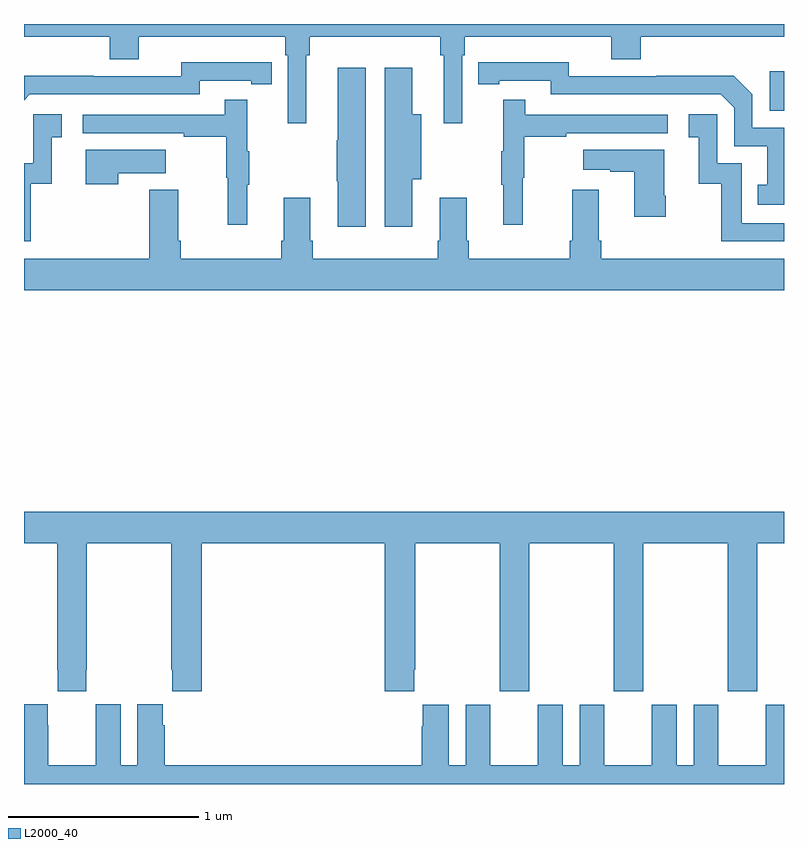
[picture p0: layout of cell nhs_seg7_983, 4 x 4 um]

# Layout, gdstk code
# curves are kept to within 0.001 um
import gdstk
lib = gdstk.Library(unit=1e-6, precision=1e-09)
def R(c, l, rs):  # rectangles x0, y0, x1, y1
    for r in rs: c.add(gdstk.rectangle(r[:2], r[2:], *l))
def P(c, l, *ps):  # polygons
    for p in ps: c.add(gdstk.Polygon(p, *l))
L2000_40 = (2000, 40)

nhs_seg7_983 = lib.new_cell('nhs_seg7_983')
R(nhs_seg7_983, L2000_40, [(186.924,1017.543,187,1017.751)])
P(nhs_seg7_983, L2000_40, [(183,1017.932),(183.452,1017.932),(183.452,1017.815),(183.604,1017.815),(183.604,1017.932),(184.376,1017.932),(184.376,1017.836),(184.389,1017.836),(184.389,1017.477),(184.486,1017.477),(184.486,1017.836),(184.505,1017.836),(184.505,1017.932),(185.191,1017.932),(185.191,1017.836),(185.21,1017.836),(185.21,1017.477),(185.307,1017.477),(185.307,1017.836),(185.321,1017.836),(185.321,1017.932),(186.092,1017.932),(186.092,1017.815),(186.245,1017.815),(186.245,1017.932),(187,1017.932),(187,1018),(183,1018)],
  [(187,1017.453),(186.834,1017.453),(186.834,1017.63),(186.736,1017.728),(186.328,1017.728),(186.328,1017.726),(185.868,1017.726),(185.868,1017.799),(185.392,1017.798),(185.392,1017.682),(185.5,1017.682),(185.5,1017.702),(185.772,1017.702),(185.772,1017.63),(186.666,1017.63),(186.738,1017.558),(186.738,1017.357),(186.911,1017.357),(186.911,1017.153),(186.862,1017.153),(186.862,1017.048),(187,1017.048)],
  [(183.03,1017.63),(183.924,1017.63),(183.924,1017.702),(184.196,1017.702),(184.196,1017.682),(184.304,1017.682),(184.304,1017.798),(183.828,1017.799),(183.828,1017.726),(183.368,1017.726),(183.368,1017.728),(183,1017.728),(183,1017.6)],
  [(184.798,1017.769),(184.652,1017.769),(184.652,1017.389),(184.645,1017.389),(184.645,1017.172),(184.652,1017.172),(184.652,1016.934),(184.798,1016.934)],
  [(185.044,1017.182),(185.092,1017.182),(185.092,1017.526),(185.044,1017.526),(185.044,1017.769),(184.898,1017.769),(184.898,1016.934),(185.044,1016.934)],
  [(185.624,1017.192),(185.632,1017.192),(185.632,1017.406),(185.855,1017.406),(185.855,1017.426),(186.388,1017.426),(186.388,1017.522),(185.639,1017.522),(185.639,1017.601),(185.522,1017.601),(185.522,1017.329),(185.511,1017.329),(185.511,1017.155),(185.522,1017.155),(185.522,1016.943),(185.624,1016.943)],
  [(184.175,1017.155),(184.186,1017.155),(184.186,1017.329),(184.175,1017.329),(184.175,1017.601),(184.057,1017.601),(184.057,1017.522),(183.309,1017.522),(183.309,1017.426),(183.841,1017.426),(183.841,1017.406),(184.065,1017.406),(184.065,1017.192),(184.072,1017.192),(184.072,1016.943),(184.175,1016.943)],
  [(183.035,1017.159),(183.146,1017.159),(183.146,1017.405),(183.199,1017.405),(183.199,1017.526),(183.048,1017.526),(183.048,1017.267),(183,1017.267),(183,1016.856),(183.035,1016.856)],
  [(187,1016.952),(186.777,1016.952),(186.777,1017.267),(186.648,1017.267),(186.648,1017.526),(186.498,1017.526),(186.498,1017.405),(186.551,1017.405),(186.551,1017.159),(186.669,1017.159),(186.669,1016.856),(187,1016.856)],
  [(186.378,1017.097),(186.37,1017.097),(186.37,1017.337),(185.943,1017.337),(185.943,1017.233),(186.086,1017.233),(186.086,1017.223),(186.212,1017.223),(186.212,1016.985),(186.378,1016.985)],
  [(183.497,1017.215),(183.745,1017.215),(183.745,1017.337),(183.326,1017.337),(183.326,1017.156),(183.497,1017.156)],
  [(187,1016.764),(186.038,1016.764),(186.038,1016.86),(186.025,1016.86),(186.025,1017.127),(185.885,1017.127),(185.885,1016.86),(185.873,1016.86),(185.873,1016.764),(185.342,1016.764),(185.342,1016.86),(185.329,1016.86),(185.329,1017.085),(185.189,1017.085),(185.189,1016.86),(185.177,1016.86),(185.177,1016.764),(184.52,1016.764),(184.52,1016.86),(184.507,1016.86),(184.507,1017.085),(184.367,1017.085),(184.367,1016.86),(184.355,1016.86),(184.355,1016.764),(183.824,1016.764),(183.824,1016.86),(183.811,1016.86),(183.811,1017.127),(183.659,1017.127),(183.659,1016.764),(183,1016.764),(183,1016.6),(187,1016.6)],
  [(183.327,1014.601),(183.33,1014.601),(183.33,1015.268),(183.775,1015.268),(183.775,1014.601),(183.781,1014.601),(183.781,1014.489),(183.935,1014.489),(183.935,1015.268),(184.898,1015.268),(184.898,1014.489),(185.053,1014.489),(185.053,1014.601),(185.058,1014.601),(185.058,1015.268),(185.503,1015.268),(185.503,1014.489),(185.658,1014.489),(185.658,1015.268),(186.103,1015.268),(186.103,1014.489),(186.258,1014.489),(186.258,1015.268),(186.703,1015.268),(186.703,1014.489),(186.858,1014.489),(186.858,1015.268),(187,1015.268),(187,1015.432),(183,1015.432),(183,1015.268),(183.175,1015.268),(183.175,1014.601),(183.177,1014.601),(183.177,1014.489),(183.327,1014.489)],
  [(187,1014.418),(186.905,1014.418),(186.905,1014.1),(186.655,1014.1),(186.655,1014.418),(186.524,1014.418),(186.524,1014.1),(186.436,1014.1),(186.436,1014.418),(186.305,1014.418),(186.305,1014.1),(186.055,1014.1),(186.055,1014.418),(185.924,1014.418),(185.924,1014.1),(185.836,1014.1),(185.836,1014.418),(185.705,1014.418),(185.705,1014.1),(185.455,1014.1),(185.455,1014.418),(185.324,1014.418),(185.324,1014.1),(185.236,1014.1),(185.236,1014.418),(185.099,1014.418),(185.099,1014.305),(185.093,1014.305),(185.093,1014.1),(183.74,1014.1),(183.74,1014.308),(183.73,1014.308),(183.73,1014.421),(183.596,1014.421),(183.596,1014.1),(183.508,1014.1),(183.508,1014.421),(183.378,1014.421),(183.378,1014.308),(183.377,1014.308),(183.377,1014.1),(183.127,1014.1),(183.127,1014.308),(183.126,1014.308),(183.126,1014.421),(183,1014.421),(183,1014),(187,1014)])

lib.write_gds('nhs_seg7_983.gds')
